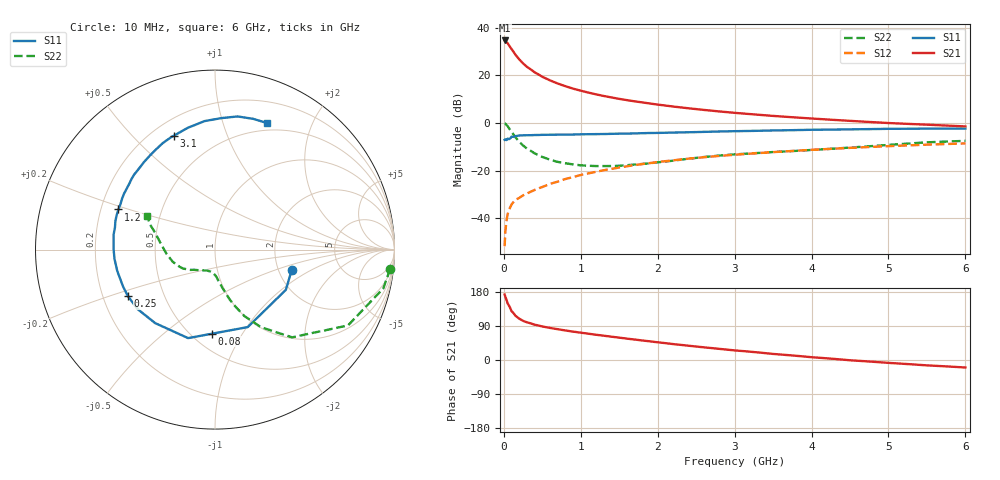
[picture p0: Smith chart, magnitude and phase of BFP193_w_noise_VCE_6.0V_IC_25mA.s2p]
! Infineon Technologies  Discrete & RF Semiconductors
! BFP193
! VCE =  6.0 V,  IC =  25 mA
! Common Emitter S-Parameters:  Jan 2017
# GHz  S  MA  R  50
!  f  S11  S21  S12  S22
! GHz  MAG  ANG  MAG  ANG  MAG  ANG  MAG  ANG
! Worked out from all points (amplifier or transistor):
!   77 points, 10 MHz to 6 GHz, reference 50 ohm
!   highest |S21| = 34.6 dB at 10 MHz (marker M1)
!   |S21| within 3 dB of that: start of sweep to 86.93 MHz
!   unconditionally stable (mu >= 1): 820.7 MHz to 2.499 GHz
!   at 130 MHz: K = 0.43, MSG = 31.3 dB, |S12| = -33.0 dB
!   at 2.2 GHz: K = 1.02, MAG = 10.5 dB, |S12| = -15.7 dB
!   at 6 GHz: K = 0.91, MSG = 3.6 dB, |S12| = -8.6 dB
!   lowest NFmin = 1.12 dB at 450 MHz
!   S11 on the Smith chart (normalised r, x): 10 MHz: 2.36, -0.67; 80 MHz: 0.62, -0.75; 250 MHz: 0.31, -0.23; 1.2 GHz: 0.27, +0.19; 3.1 GHz: 0.28, +0.66; 6 GHz: 0.42, +1.40
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0.01  0.4422 -15.0  53.67 172.9  0.0026 84.2  0.982 -6.3
0.02  0.454 -29.6  53.13 166.6  0.0053 82.2  0.9622 -13.0
0.05  0.4687 -67.1  46.8 149.0  0.0124 68.4  0.8529 -29.7
0.08  0.4689 -92.1  39.44 138.3  0.0166 61.4  0.7217 -39.8
0.1  0.5154 -106.9  35.56 128.9  0.0195 58.4  0.6509 -48.7
0.15  0.528 -129.1  27.06 116.9  0.0242 53.6  0.5 -59.5
0.2  0.5436 -142.3  21.54 109.1  0.0268 53.8  0.404 -66.2
0.25  0.5503 -151.9  17.75 103.3  0.0303 53.2  0.337 -70.3
0.3  0.5521 -158.3  15.03 99.4  0.033 54.8  0.2899 -73.6
0.4  0.5574 -167.7  11.53 93.1  0.0393 57.6  0.2298 -77.8
0.5  0.5623 -174.7  9.297 88.5  0.0453 59.5  0.1935 -81.5
0.6  0.5649 -180.0  7.808 84.6  0.0526 61.0  0.1691 -84.5
0.7  0.567 175.5  6.71 81.3  0.0587 62.2  0.1524 -86.9
0.9  0.5709 167.5  5.239 74.9  0.0733 62.7  0.1351 -92.9
1.1  0.5805 160.8  4.322 69.4  0.0875 61.9  0.1265 -98.8
1.2  0.5827 157.4  3.968 66.6  0.0945 61.5  0.1244 -102.0
1.6  0.5976 145.5  3.009 56.4  0.1232 58.7  0.1297 -116.0
2.1  0.6219 131.7  2.315 44.5  0.1577 53.6  0.1551 -133.0
3.1  0.6747 109.8  1.58 23.7  0.2206 42.2  0.2238 -156.3
4.1  0.7204 93.1  1.21 5.9  0.2778 31.1  0.2768 -177.6
5.1  0.7529 79.1  0.979 -8.8  0.3305 19.9  0.3548 163.1
6  0.7622 67.8  0.845 -19.8  0.3722 9.8  0.4213 153.6
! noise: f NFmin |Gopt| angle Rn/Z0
0.45  1.12  0.3  -176  0.36
0.9  1.19  0.37  -175  0.07
1.9  1.81  0.57  -138  0.16
2.4  2.15  0.62  -122  0.35
